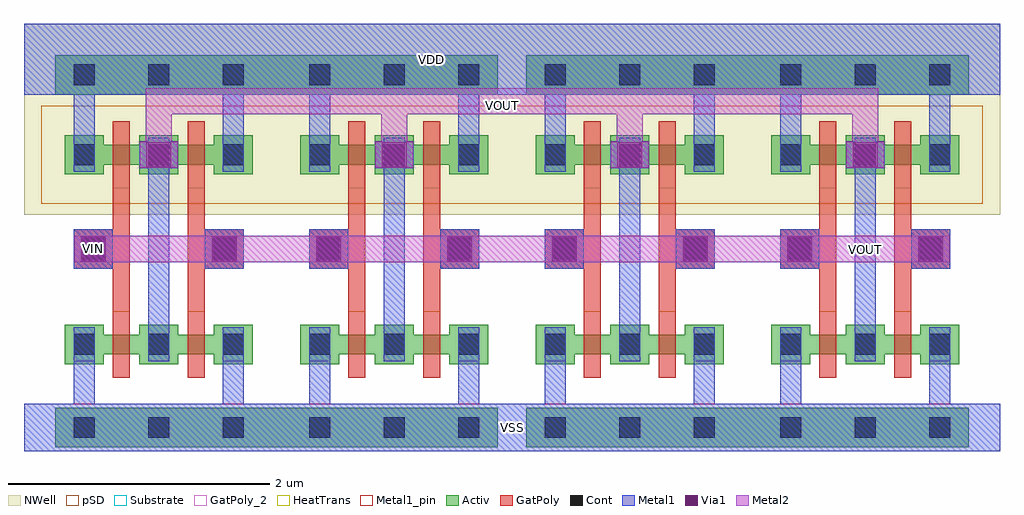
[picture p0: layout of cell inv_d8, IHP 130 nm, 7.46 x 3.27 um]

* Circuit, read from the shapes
.subckt inv_d8 VDD VIN VOUT VSS
XM1 VOUT VIN VSS VSS sg13_lv_nmos w=0.15u l=0.13u m=8
XM2 VOUT VIN VDD VDD sg13_lv_pmos w=0.15u l=0.13u m=8
.ends

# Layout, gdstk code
from math import pi, radians
import gdstk
lib = gdstk.Library(unit=1e-6, precision=5e-09)
def R(c, l, rs):  # rectangles x0, y0, x1, y1
    for r in rs: c.add(gdstk.rectangle(r[:2], r[2:], *l))
Activ = (1, 0)
GatPoly = (5, 0)
GatPoly_2 = (5, 2)
Cont = (6, 0)
Metal1 = (8, 0)
Metal1_pin = (8, 2)
Metal2 = (10, 0)
pSD = (14, 0)
Via1 = (19, 0)
NWell = (31, 0)
Substrate = (40, 0)
HeatTrans = (51, 0)

pmos_1_1_1_1_5 = lib.new_cell('pmos$1$1$1$1$5')
R(pmos_1_1_1_1_5, Activ, [(0,0,0.3,0.3), (0.57,0,0.87,0.3), (0,0.075,0.87,0.225)])
R(pmos_1_1_1_1_5, GatPoly, [(0.37,-0.105,0.5,0.405), (0.37,-0.105,0.5,0.405)])
R(pmos_1_1_1_1_5, Cont, [(0.07,0.07,0.23,0.23), (0.64,0.07,0.8,0.23)])
R(pmos_1_1_1_1_5, Metal1, [(0.07,0.02,0.23,0.28), (0.07,0.02,0.23,0.28), (0.64,0.02,0.8,0.28), (0.64,0.02,0.8,0.28)])
R(pmos_1_1_1_1_5, pSD, [(-0.18,-0.225,1.05,0.525)])
R(pmos_1_1_1_1_5, NWell, [(-0.31,-0.31,1.18,0.61)])
R(pmos_1_1_1_1_5, Substrate, [(0.57,0,0.87,0.3)])
R(pmos_1_1_1_1_5, HeatTrans, [(0.37,-0.105,0.5,0.405)])
pmos_1_1_1_1_5.add(gdstk.Label('pmos', (0.435,0.15), layer=63, texttype=0))
pmos_1_1_1_1_5.add(gdstk.Label('pmos', (0.435,0.15), layer=51, texttype=0))

nmos_1_9_1 = lib.new_cell('nmos$1$9$1')
R(nmos_1_9_1, Activ, [(0,0,0.3,0.3), (0.57,0,0.87,0.3), (0,0.075,0.87,0.225)])
R(nmos_1_9_1, GatPoly, [(0.37,-0.105,0.5,0.405)])
R(nmos_1_9_1, GatPoly_2, [(0.37,-0.105,0.5,0.405)])
R(nmos_1_9_1, Cont, [(0.07,0.07,0.23,0.23), (0.64,0.07,0.8,0.23)])
R(nmos_1_9_1, Metal1, [(0.07,0.02,0.23,0.28), (0.64,0.02,0.8,0.28)])
R(nmos_1_9_1, Metal1_pin, [(0.07,0.02,0.23,0.28), (0.64,0.02,0.8,0.28)])
R(nmos_1_9_1, HeatTrans, [(0.37,-0.105,0.5,0.405)])
nmos_1_9_1.add(gdstk.Label('nmos', (0.435,0.15), layer=63, texttype=0))
nmos_1_9_1.add(gdstk.Label('nmos', (0.435,0.15), layer=51, texttype=0))

inv_2 = lib.new_cell('inv$2')
R(inv_2, Activ, [(0.48,-0.04,1.49,0.26), (0.48,-0.04,1.49,0.26), (0.48,-0.04,1.49,0.26), (0.48,-0.04,1.49,0.26), (0.48,-0.04,1.49,0.26), (0.48,-0.04,1.49,0.26), (0.48,-0.04,1.49,0.26), (0.48,-0.04,1.49,0.26), (0.48,-0.04,1.49,0.26), (0.48,-0.04,1.49,0.26), (0.48,-0.04,1.49,0.26), (0.48,-0.04,1.49,0.26), (0.48,-0.04,1.49,0.26), (0.48,-0.04,1.49,0.26), (0.48,-0.04,1.49,0.26), (0.48,-0.04,1.49,0.26), (0.48,-0.04,1.49,0.26), (0.48,-0.04,1.49,0.26), (0.48,-0.04,1.49,0.26), (0.48,-0.04,1.49,0.26), (0.48,-0.04,1.49,0.26), (0.48,-0.04,1.49,0.26), (0.48,-0.04,1.49,0.26), (0.48,-0.04,1.49,0.26), (0.48,-0.04,1.49,0.26), (0.48,-0.04,1.49,0.26), (0.48,-0.04,1.49,0.26), (0.48,-0.04,1.49,0.26), (0.48,2.655,1.49,2.955), (0.48,2.655,1.49,2.955), (0.48,2.655,1.49,2.955), (0.48,2.655,1.49,2.955), (0.48,2.655,1.49,2.955), (0.48,2.655,1.49,2.955), (0.48,2.655,1.49,2.955), (0.48,2.655,1.49,2.955), (0.48,2.655,1.49,2.955), (0.48,2.655,1.49,2.955), (0.48,2.655,1.49,2.955), (0.48,2.655,1.49,2.955), (0.48,2.655,1.49,2.955), (0.48,2.655,1.49,2.955), (0.48,2.655,1.49,2.955), (0.48,2.655,1.49,2.955), (0.48,2.655,1.49,2.955), (0.48,2.655,1.49,2.955), (0.48,2.655,1.49,2.955), (0.48,2.655,1.49,2.955), (0.48,2.655,1.49,2.955), (0.48,2.655,1.49,2.955), (0.48,2.655,1.49,2.955), (0.48,2.655,1.49,2.955), (0.48,2.655,1.49,2.955), (0.48,2.655,1.49,2.955), (0.48,2.655,1.49,2.955), (0.48,2.655,1.49,2.955)])
R(inv_2, GatPoly, [(0.92,0.76,1.05,2.45), (0.92,0.76,1.05,2.45), (0.92,0.76,1.05,2.45), (0.92,0.76,1.05,2.45), (0.92,0.76,1.05,2.45), (0.92,0.76,1.05,2.45), (0.92,0.76,1.05,2.45), (0.92,0.76,1.05,2.45), (0.92,0.76,1.05,2.45), (0.92,0.76,1.05,2.45), (0.92,0.76,1.05,2.45), (0.92,0.76,1.05,2.45), (0.92,0.76,1.05,2.45), (0.92,0.76,1.05,2.45), (0.92,0.76,1.05,2.45), (0.92,0.76,1.05,2.45), (0.92,0.76,1.05,2.45), (0.92,0.76,1.05,2.45), (0.92,0.76,1.05,2.45), (0.92,0.76,1.05,2.45), (0.92,0.76,1.05,2.45), (0.92,0.76,1.05,2.45), (0.92,0.76,1.05,2.45), (0.92,0.76,1.05,2.45), (0.92,0.76,1.05,2.45), (0.92,0.76,1.05,2.45), (0.92,0.76,1.05,2.45), (0.92,0.76,1.05,2.45), (0.62,1.325,0.92,1.625), (0.62,1.325,0.92,1.625), (0.62,1.325,0.92,1.625), (0.62,1.325,0.92,1.625), (0.62,1.325,0.92,1.625), (0.62,1.325,0.92,1.625), (0.62,1.325,0.92,1.625), (0.62,1.325,0.92,1.625), (0.62,1.325,0.92,1.625), (0.62,1.325,0.92,1.625), (0.62,1.325,0.92,1.625), (0.62,1.325,0.92,1.625), (0.62,1.325,0.92,1.625), (0.62,1.325,0.92,1.625), (0.62,1.325,0.92,1.625), (0.62,1.325,0.92,1.625), (0.62,1.325,0.92,1.625), (0.62,1.325,0.92,1.625), (0.62,1.325,0.92,1.625), (0.62,1.325,0.92,1.625), (0.62,1.325,0.92,1.625), (0.62,1.325,0.92,1.625), (0.62,1.325,0.92,1.625), (0.62,1.325,0.92,1.625), (0.62,1.325,0.92,1.625), (0.62,1.325,0.92,1.625), (0.62,1.325,0.92,1.625), (0.62,1.325,0.92,1.625)])
R(inv_2, Cont, [(0.62,0.03,0.78,0.19), (0.62,0.03,0.78,0.19), (0.62,0.03,0.78,0.19), (0.62,0.03,0.78,0.19), (0.62,0.03,0.78,0.19), (0.62,0.03,0.78,0.19), (0.62,0.03,0.78,0.19), (0.62,0.03,0.78,0.19), (0.62,0.03,0.78,0.19), (0.62,0.03,0.78,0.19), (0.62,0.03,0.78,0.19), (0.62,0.03,0.78,0.19), (0.62,0.03,0.78,0.19), (0.62,0.03,0.78,0.19), (0.62,0.03,0.78,0.19), (0.62,0.03,0.78,0.19), (0.62,0.03,0.78,0.19), (0.62,0.03,0.78,0.19), (0.62,0.03,0.78,0.19), (0.62,0.03,0.78,0.19), (0.62,0.03,0.78,0.19), (0.62,0.03,0.78,0.19), (0.62,0.03,0.78,0.19), (0.62,0.03,0.78,0.19), (0.62,0.03,0.78,0.19), (0.62,0.03,0.78,0.19), (0.62,0.03,0.78,0.19), (0.62,0.03,0.78,0.19), (1.19,0.03,1.35,0.19), (1.19,0.03,1.35,0.19), (1.19,0.03,1.35,0.19), (1.19,0.03,1.35,0.19), (1.19,0.03,1.35,0.19), (1.19,0.03,1.35,0.19), (1.19,0.03,1.35,0.19), (1.19,0.03,1.35,0.19), (1.19,0.03,1.35,0.19), (1.19,0.03,1.35,0.19), (1.19,0.03,1.35,0.19), (1.19,0.03,1.35,0.19), (1.19,0.03,1.35,0.19), (1.19,0.03,1.35,0.19), (1.19,0.03,1.35,0.19), (1.19,0.03,1.35,0.19), (1.19,0.03,1.35,0.19), (1.19,0.03,1.35,0.19), (1.19,0.03,1.35,0.19), (1.19,0.03,1.35,0.19), (1.19,0.03,1.35,0.19), (1.19,0.03,1.35,0.19), (1.19,0.03,1.35,0.19), (1.19,0.03,1.35,0.19), (1.19,0.03,1.35,0.19), (1.19,0.03,1.35,0.19), (1.19,0.03,1.35,0.19), (1.19,0.03,1.35,0.19), (0.69,1.395,0.85,1.555), (0.69,1.395,0.85,1.555), (0.69,1.395,0.85,1.555), (0.69,1.395,0.85,1.555), (0.69,1.395,0.85,1.555), (0.69,1.395,0.85,1.555), (0.69,1.395,0.85,1.555), (0.69,1.395,0.85,1.555), (0.69,1.395,0.85,1.555), (0.69,1.395,0.85,1.555), (0.69,1.395,0.85,1.555), (0.69,1.395,0.85,1.555), (0.69,1.395,0.85,1.555), (0.69,1.395,0.85,1.555), (0.69,1.395,0.85,1.555), (0.69,1.395,0.85,1.555), (0.69,1.395,0.85,1.555), (0.69,1.395,0.85,1.555), (0.69,1.395,0.85,1.555), (0.69,1.395,0.85,1.555), (0.69,1.395,0.85,1.555), (0.69,1.395,0.85,1.555), (0.69,1.395,0.85,1.555), (0.69,1.395,0.85,1.555), (0.69,1.395,0.85,1.555), (0.69,1.395,0.85,1.555), (0.69,1.395,0.85,1.555), (0.69,1.395,0.85,1.555), (0.62,2.725,0.78,2.885), (0.62,2.725,0.78,2.885), (0.62,2.725,0.78,2.885), (0.62,2.725,0.78,2.885), (0.62,2.725,0.78,2.885), (0.62,2.725,0.78,2.885), (0.62,2.725,0.78,2.885), (0.62,2.725,0.78,2.885), (0.62,2.725,0.78,2.885), (0.62,2.725,0.78,2.885), (0.62,2.725,0.78,2.885), (0.62,2.725,0.78,2.885), (0.62,2.725,0.78,2.885), (0.62,2.725,0.78,2.885), (0.62,2.725,0.78,2.885), (0.62,2.725,0.78,2.885), (0.62,2.725,0.78,2.885), (0.62,2.725,0.78,2.885), (0.62,2.725,0.78,2.885), (0.62,2.725,0.78,2.885), (0.62,2.725,0.78,2.885), (0.62,2.725,0.78,2.885), (0.62,2.725,0.78,2.885), (0.62,2.725,0.78,2.885), (0.62,2.725,0.78,2.885), (0.62,2.725,0.78,2.885), (0.62,2.725,0.78,2.885), (0.62,2.725,0.78,2.885), (1.19,2.725,1.35,2.885), (1.19,2.725,1.35,2.885), (1.19,2.725,1.35,2.885), (1.19,2.725,1.35,2.885), (1.19,2.725,1.35,2.885), (1.19,2.725,1.35,2.885), (1.19,2.725,1.35,2.885), (1.19,2.725,1.35,2.885), (1.19,2.725,1.35,2.885), (1.19,2.725,1.35,2.885), (1.19,2.725,1.35,2.885), (1.19,2.725,1.35,2.885), (1.19,2.725,1.35,2.885), (1.19,2.725,1.35,2.885), (1.19,2.725,1.35,2.885), (1.19,2.725,1.35,2.885), (1.19,2.725,1.35,2.885), (1.19,2.725,1.35,2.885), (1.19,2.725,1.35,2.885), (1.19,2.725,1.35,2.885), (1.19,2.725,1.35,2.885), (1.19,2.725,1.35,2.885), (1.19,2.725,1.35,2.885), (1.19,2.725,1.35,2.885), (1.19,2.725,1.35,2.885), (1.19,2.725,1.35,2.885), (1.19,2.725,1.35,2.885), (1.19,2.725,1.35,2.885)])
R(inv_2, Metal1, [(0.24,-0.07,1.73,0.29), (0.24,-0.07,1.73,0.29), (0.24,-0.07,1.73,0.29), (0.24,-0.07,1.73,0.29), (0.24,-0.07,1.73,0.29), (0.24,-0.07,1.73,0.29), (0.24,-0.07,1.73,0.29), (0.24,-0.07,1.73,0.29), (0.24,-0.07,1.73,0.29), (0.24,-0.07,1.73,0.29), (0.24,-0.07,1.73,0.29), (0.24,-0.07,1.73,0.29), (0.24,-0.07,1.73,0.29), (0.24,-0.07,1.73,0.29), (0.24,-0.07,1.73,0.29), (0.24,-0.07,1.73,0.29), (0.24,-0.07,1.73,0.29), (0.24,-0.07,1.73,0.29), (0.24,-0.07,1.73,0.29), (0.24,-0.07,1.73,0.29), (0.24,-0.07,1.73,0.29), (0.24,-0.07,1.73,0.29), (0.24,-0.07,1.73,0.29), (0.24,-0.07,1.73,0.29), (0.24,-0.07,1.73,0.29), (0.24,-0.07,1.73,0.29), (0.24,-0.07,1.73,0.29), (0.24,-0.07,1.73,0.29), (0.62,-0.04,0.78,0.875), (0.62,-0.04,0.78,0.875), (0.62,-0.04,0.78,0.875), (0.62,-0.04,0.78,0.875), (0.62,-0.04,0.78,0.875), (0.62,-0.04,0.78,0.875), (0.62,-0.04,0.78,0.875), (0.62,-0.04,0.78,0.875), (0.62,-0.04,0.78,0.875), (0.62,-0.04,0.78,0.875), (0.62,-0.04,0.78,0.875), (0.62,-0.04,0.78,0.875), (0.62,-0.04,0.78,0.875), (0.62,-0.04,0.78,0.875), (0.62,-0.04,0.78,0.875), (0.62,-0.04,0.78,0.875), (0.62,-0.04,0.78,0.875), (0.62,-0.04,0.78,0.875), (0.62,-0.04,0.78,0.875), (0.62,-0.04,0.78,0.875), (0.62,-0.04,0.78,0.875), (0.62,-0.04,0.78,0.875), (0.62,-0.04,0.78,0.875), (0.62,-0.04,0.78,0.875), (0.62,-0.04,0.78,0.875), (0.62,-0.04,0.78,0.875), (0.62,-0.04,0.78,0.875), (0.62,-0.04,0.78,0.875), (1.19,0.615,1.35,2.325), (1.19,0.615,1.35,2.325), (1.19,0.615,1.35,2.325), (1.19,0.615,1.35,2.325), (1.19,0.615,1.35,2.325), (1.19,0.615,1.35,2.325), (1.19,0.615,1.35,2.325), (1.19,0.615,1.35,2.325), (1.19,0.615,1.35,2.325), (1.19,0.615,1.35,2.325), (1.19,0.615,1.35,2.325), (1.19,0.615,1.35,2.325), (1.19,0.615,1.35,2.325), (1.19,0.615,1.35,2.325), (1.19,0.615,1.35,2.325), (1.19,0.615,1.35,2.325), (1.19,0.615,1.35,2.325), (1.19,0.615,1.35,2.325), (1.19,0.615,1.35,2.325), (1.19,0.615,1.35,2.325), (1.19,0.615,1.35,2.325), (1.19,0.615,1.35,2.325), (1.19,0.615,1.35,2.325), (1.19,0.615,1.35,2.325), (1.19,0.615,1.35,2.325), (1.19,0.615,1.35,2.325), (1.19,0.615,1.35,2.325), (1.19,0.615,1.35,2.325), (0.62,1.325,0.92,1.625), (0.62,1.325,0.92,1.625), (0.62,1.325,0.92,1.625), (0.62,1.325,0.92,1.625), (0.62,1.325,0.92,1.625), (0.62,1.325,0.92,1.625), (0.62,1.325,0.92,1.625), (0.62,1.325,0.92,1.625), (0.62,1.325,0.92,1.625), (0.62,1.325,0.92,1.625), (0.62,1.325,0.92,1.625), (0.62,1.325,0.92,1.625), (0.62,1.325,0.92,1.625), (0.62,1.325,0.92,1.625), (0.62,1.325,0.92,1.625), (0.62,1.325,0.92,1.625), (0.62,1.325,0.92,1.625), (0.62,1.325,0.92,1.625), (0.62,1.325,0.92,1.625), (0.62,1.325,0.92,1.625), (0.62,1.325,0.92,1.625), (0.62,1.325,0.92,1.625), (0.62,1.325,0.92,1.625), (0.62,1.325,0.92,1.625), (0.62,1.325,0.92,1.625), (0.62,1.325,0.92,1.625), (0.62,1.325,0.92,1.625), (0.62,1.325,0.92,1.625), (0.62,2.065,0.78,2.955), (0.62,2.065,0.78,2.955), (0.62,2.065,0.78,2.955), (0.62,2.065,0.78,2.955), (0.62,2.065,0.78,2.955), (0.62,2.065,0.78,2.955), (0.62,2.065,0.78,2.955), (0.62,2.065,0.78,2.955), (0.62,2.065,0.78,2.955), (0.62,2.065,0.78,2.955), (0.62,2.065,0.78,2.955), (0.62,2.065,0.78,2.955), (0.62,2.065,0.78,2.955), (0.62,2.065,0.78,2.955), (0.62,2.065,0.78,2.955), (0.62,2.065,0.78,2.955), (0.62,2.065,0.78,2.955), (0.62,2.065,0.78,2.955), (0.62,2.065,0.78,2.955), (0.62,2.065,0.78,2.955), (0.62,2.065,0.78,2.955), (0.62,2.065,0.78,2.955), (0.62,2.065,0.78,2.955), (0.62,2.065,0.78,2.955), (0.62,2.065,0.78,2.955), (0.62,2.065,0.78,2.955), (0.62,2.065,0.78,2.955), (0.62,2.065,0.78,2.955), (0.24,2.655,1.73,3.195), (0.24,2.655,1.73,3.195), (0.24,2.655,1.73,3.195), (0.24,2.655,1.73,3.195), (0.24,2.655,1.73,3.195), (0.24,2.655,1.73,3.195), (0.24,2.655,1.73,3.195), (0.24,2.655,1.73,3.195), (0.24,2.655,1.73,3.195), (0.24,2.655,1.73,3.195), (0.24,2.655,1.73,3.195), (0.24,2.655,1.73,3.195), (0.24,2.655,1.73,3.195), (0.24,2.655,1.73,3.195), (0.24,2.655,1.73,3.195), (0.24,2.655,1.73,3.195), (0.24,2.655,1.73,3.195), (0.24,2.655,1.73,3.195), (0.24,2.655,1.73,3.195), (0.24,2.655,1.73,3.195), (0.24,2.655,1.73,3.195), (0.24,2.655,1.73,3.195), (0.24,2.655,1.73,3.195), (0.24,2.655,1.73,3.195), (0.24,2.655,1.73,3.195), (0.24,2.655,1.73,3.195), (0.24,2.655,1.73,3.195), (0.24,2.655,1.73,3.195)])
R(inv_2, Metal1_pin, [(0.24,-0.07,1.73,0.29), (0.24,-0.07,1.73,0.29), (0.24,-0.07,1.73,0.29), (0.24,-0.07,1.73,0.29), (0.24,-0.07,1.73,0.29), (0.24,-0.07,1.73,0.29), (0.24,-0.07,1.73,0.29), (0.24,-0.07,1.73,0.29), (0.24,-0.07,1.73,0.29), (0.24,-0.07,1.73,0.29), (0.24,-0.07,1.73,0.29), (0.24,-0.07,1.73,0.29), (0.24,-0.07,1.73,0.29), (0.24,-0.07,1.73,0.29), (0.24,-0.07,1.73,0.29), (0.24,-0.07,1.73,0.29), (0.24,-0.07,1.73,0.29), (0.24,-0.07,1.73,0.29), (0.24,-0.07,1.73,0.29), (0.24,-0.07,1.73,0.29), (0.24,-0.07,1.73,0.29), (0.24,-0.07,1.73,0.29), (0.24,-0.07,1.73,0.29), (0.24,-0.07,1.73,0.29), (0.24,-0.07,1.73,0.29), (0.24,-0.07,1.73,0.29), (0.24,-0.07,1.73,0.29), (0.24,-0.07,1.73,0.29), (1.19,0.615,1.35,2.325), (1.19,0.615,1.35,2.325), (1.19,0.615,1.35,2.325), (1.19,0.615,1.35,2.325), (1.19,0.615,1.35,2.325), (1.19,0.615,1.35,2.325), (1.19,0.615,1.35,2.325), (1.19,0.615,1.35,2.325), (1.19,0.615,1.35,2.325), (1.19,0.615,1.35,2.325), (1.19,0.615,1.35,2.325), (1.19,0.615,1.35,2.325), (1.19,0.615,1.35,2.325), (1.19,0.615,1.35,2.325), (1.19,0.615,1.35,2.325), (1.19,0.615,1.35,2.325), (1.19,0.615,1.35,2.325), (1.19,0.615,1.35,2.325), (1.19,0.615,1.35,2.325), (1.19,0.615,1.35,2.325), (1.19,0.615,1.35,2.325), (1.19,0.615,1.35,2.325), (1.19,0.615,1.35,2.325), (1.19,0.615,1.35,2.325), (1.19,0.615,1.35,2.325), (1.19,0.615,1.35,2.325), (1.19,0.615,1.35,2.325), (1.19,0.615,1.35,2.325), (0.62,1.325,0.92,1.625), (0.62,1.325,0.92,1.625), (0.62,1.325,0.92,1.625), (0.62,1.325,0.92,1.625), (0.62,1.325,0.92,1.625), (0.62,1.325,0.92,1.625), (0.62,1.325,0.92,1.625), (0.62,1.325,0.92,1.625), (0.62,1.325,0.92,1.625), (0.62,1.325,0.92,1.625), (0.62,1.325,0.92,1.625), (0.62,1.325,0.92,1.625), (0.62,1.325,0.92,1.625), (0.62,1.325,0.92,1.625), (0.62,1.325,0.92,1.625), (0.62,1.325,0.92,1.625), (0.62,1.325,0.92,1.625), (0.62,1.325,0.92,1.625), (0.62,1.325,0.92,1.625), (0.62,1.325,0.92,1.625), (0.62,1.325,0.92,1.625), (0.62,1.325,0.92,1.625), (0.62,1.325,0.92,1.625), (0.62,1.325,0.92,1.625), (0.62,1.325,0.92,1.625), (0.62,1.325,0.92,1.625), (0.62,1.325,0.92,1.625), (0.62,1.325,0.92,1.625), (0.24,2.655,1.73,3.195), (0.24,2.655,1.73,3.195), (0.24,2.655,1.73,3.195), (0.24,2.655,1.73,3.195), (0.24,2.655,1.73,3.195), (0.24,2.655,1.73,3.195), (0.24,2.655,1.73,3.195), (0.24,2.655,1.73,3.195), (0.24,2.655,1.73,3.195), (0.24,2.655,1.73,3.195), (0.24,2.655,1.73,3.195), (0.24,2.655,1.73,3.195), (0.24,2.655,1.73,3.195), (0.24,2.655,1.73,3.195), (0.24,2.655,1.73,3.195), (0.24,2.655,1.73,3.195), (0.24,2.655,1.73,3.195), (0.24,2.655,1.73,3.195), (0.24,2.655,1.73,3.195), (0.24,2.655,1.73,3.195), (0.24,2.655,1.73,3.195), (0.24,2.655,1.73,3.195), (0.24,2.655,1.73,3.195), (0.24,2.655,1.73,3.195), (0.24,2.655,1.73,3.195), (0.24,2.655,1.73,3.195), (0.24,2.655,1.73,3.195), (0.24,2.655,1.73,3.195)])
R(inv_2, pSD, [(0.24,-0.07,1.73,0.29), (0.24,-0.07,1.73,0.29), (0.24,-0.07,1.73,0.29), (0.24,-0.07,1.73,0.29), (0.24,-0.07,1.73,0.29), (0.24,-0.07,1.73,0.29), (0.24,-0.07,1.73,0.29), (0.24,-0.07,1.73,0.29), (0.24,-0.07,1.73,0.29), (0.24,-0.07,1.73,0.29), (0.24,-0.07,1.73,0.29), (0.24,-0.07,1.73,0.29), (0.24,-0.07,1.73,0.29), (0.24,-0.07,1.73,0.29), (0.24,-0.07,1.73,0.29), (0.24,-0.07,1.73,0.29), (0.24,-0.07,1.73,0.29), (0.24,-0.07,1.73,0.29), (0.24,-0.07,1.73,0.29), (0.24,-0.07,1.73,0.29), (0.24,-0.07,1.73,0.29), (0.24,-0.07,1.73,0.29), (0.24,-0.07,1.73,0.29), (0.24,-0.07,1.73,0.29), (0.24,-0.07,1.73,0.29), (0.24,-0.07,1.73,0.29), (0.24,-0.07,1.73,0.29), (0.24,-0.07,1.73,0.29)])
R(inv_2, NWell, [(0.24,2.655,1.73,3.195), (0.24,2.655,1.73,3.195), (0.24,2.655,1.73,3.195), (0.24,2.655,1.73,3.195), (0.24,2.655,1.73,3.195), (0.24,2.655,1.73,3.195), (0.24,2.655,1.73,3.195), (0.24,2.655,1.73,3.195), (0.24,2.655,1.73,3.195), (0.24,2.655,1.73,3.195), (0.24,2.655,1.73,3.195), (0.24,2.655,1.73,3.195), (0.24,2.655,1.73,3.195), (0.24,2.655,1.73,3.195), (0.24,2.655,1.73,3.195), (0.24,2.655,1.73,3.195), (0.24,2.655,1.73,3.195), (0.24,2.655,1.73,3.195), (0.24,2.655,1.73,3.195), (0.24,2.655,1.73,3.195), (0.24,2.655,1.73,3.195), (0.24,2.655,1.73,3.195), (0.24,2.655,1.73,3.195), (0.24,2.655,1.73,3.195), (0.24,2.655,1.73,3.195), (0.24,2.655,1.73,3.195), (0.24,2.655,1.73,3.195), (0.24,2.655,1.73,3.195)])
inv_2.add(gdstk.Reference(pmos_1_1_1_1_5, (0.55,2.045)))
inv_2.add(gdstk.Reference(nmos_1_9_1, (0.55,0.595)))
inv_2.add(gdstk.Label('VDD', (0.675,2.805), layer=8, texttype=25))
inv_2.add(gdstk.Label('VIN', (0.73,1.475), layer=8, texttype=25))
inv_2.add(gdstk.Label('VOUT', (1.2,1.665), layer=8, texttype=25))
inv_2.add(gdstk.Label('VDD', (0.675,2.805), layer=8, texttype=25))
inv_2.add(gdstk.Label('VIN', (0.73,1.475), layer=8, texttype=25))
inv_2.add(gdstk.Label('VOUT', (1.2,1.665), layer=8, texttype=25))
inv_2.add(gdstk.Label('VDD', (0.675,2.805), layer=8, texttype=25))
inv_2.add(gdstk.Label('VIN', (0.73,1.475), layer=8, texttype=25))
inv_2.add(gdstk.Label('VOUT', (1.2,1.665), layer=8, texttype=25))
inv_2.add(gdstk.Label('VDD', (0.675,2.805), layer=8, texttype=25))
inv_2.add(gdstk.Label('VIN', (0.73,1.475), layer=8, texttype=25))
inv_2.add(gdstk.Label('VOUT', (1.2,1.665), layer=8, texttype=25))
inv_2.add(gdstk.Label('VDD', (0.675,2.805), layer=8, texttype=25))
inv_2.add(gdstk.Label('VIN', (0.73,1.475), layer=8, texttype=25))
inv_2.add(gdstk.Label('VOUT', (1.2,1.665), layer=8, texttype=25))
inv_2.add(gdstk.Label('VDD', (0.675,2.805), layer=8, texttype=25))
inv_2.add(gdstk.Label('VIN', (0.73,1.475), layer=8, texttype=25))
inv_2.add(gdstk.Label('VOUT', (1.2,1.665), layer=8, texttype=25))
inv_2.add(gdstk.Label('VDD', (0.675,2.805), layer=8, texttype=25))
inv_2.add(gdstk.Label('VIN', (0.73,1.475), layer=8, texttype=25))
inv_2.add(gdstk.Label('VOUT', (1.2,1.665), layer=8, texttype=25))
inv_2.add(gdstk.Label('VDD', (0.675,2.805), layer=8, texttype=25))
inv_2.add(gdstk.Label('VIN', (0.73,1.475), layer=8, texttype=25))
inv_2.add(gdstk.Label('VOUT', (1.2,1.665), layer=8, texttype=25))
inv_2.add(gdstk.Label('VDD', (0.675,2.805), layer=8, texttype=25))
inv_2.add(gdstk.Label('VIN', (0.73,1.475), layer=8, texttype=25))
inv_2.add(gdstk.Label('VOUT', (1.2,1.665), layer=8, texttype=25))
inv_2.add(gdstk.Label('VDD', (0.675,2.805), layer=8, texttype=25))
inv_2.add(gdstk.Label('VIN', (0.73,1.475), layer=8, texttype=25))
inv_2.add(gdstk.Label('VOUT', (1.2,1.665), layer=8, texttype=25))
inv_2.add(gdstk.Label('VDD', (0.675,2.805), layer=8, texttype=25))
inv_2.add(gdstk.Label('VIN', (0.73,1.475), layer=8, texttype=25))
inv_2.add(gdstk.Label('VOUT', (1.2,1.665), layer=8, texttype=25))
inv_2.add(gdstk.Label('VDD', (0.675,2.805), layer=8, texttype=25))
inv_2.add(gdstk.Label('VIN', (0.73,1.475), layer=8, texttype=25))
inv_2.add(gdstk.Label('VOUT', (1.2,1.665), layer=8, texttype=25))
inv_2.add(gdstk.Label('VDD', (0.675,2.805), layer=8, texttype=25))
inv_2.add(gdstk.Label('VIN', (0.73,1.475), layer=8, texttype=25))
inv_2.add(gdstk.Label('VOUT', (1.2,1.665), layer=8, texttype=25))
inv_2.add(gdstk.Label('VDD', (0.675,2.805), layer=8, texttype=25))
inv_2.add(gdstk.Label('VIN', (0.73,1.475), layer=8, texttype=25))
inv_2.add(gdstk.Label('VOUT', (1.2,1.665), layer=8, texttype=25))
inv_2.add(gdstk.Label('VDD', (0.675,2.805), layer=8, texttype=25))
inv_2.add(gdstk.Label('VIN', (0.73,1.475), layer=8, texttype=25))
inv_2.add(gdstk.Label('VOUT', (1.2,1.665), layer=8, texttype=25))
inv_2.add(gdstk.Label('VDD', (0.675,2.805), layer=8, texttype=25))
inv_2.add(gdstk.Label('VIN', (0.73,1.475), layer=8, texttype=25))
inv_2.add(gdstk.Label('VOUT', (1.2,1.665), layer=8, texttype=25))
inv_2.add(gdstk.Label('VDD', (0.675,2.805), layer=8, texttype=25))
inv_2.add(gdstk.Label('VIN', (0.73,1.475), layer=8, texttype=25))
inv_2.add(gdstk.Label('VOUT', (1.2,1.665), layer=8, texttype=25))
inv_2.add(gdstk.Label('VDD', (0.675,2.805), layer=8, texttype=25))
inv_2.add(gdstk.Label('VIN', (0.73,1.475), layer=8, texttype=25))
inv_2.add(gdstk.Label('VOUT', (1.2,1.665), layer=8, texttype=25))
inv_2.add(gdstk.Label('VDD', (0.675,2.805), layer=8, texttype=25))
inv_2.add(gdstk.Label('VIN', (0.73,1.475), layer=8, texttype=25))
inv_2.add(gdstk.Label('VOUT', (1.2,1.665), layer=8, texttype=25))
inv_2.add(gdstk.Label('VDD', (0.675,2.805), layer=8, texttype=25))
inv_2.add(gdstk.Label('VIN', (0.73,1.475), layer=8, texttype=25))
inv_2.add(gdstk.Label('VOUT', (1.2,1.665), layer=8, texttype=25))
inv_2.add(gdstk.Label('VDD', (0.675,2.805), layer=8, texttype=25))
inv_2.add(gdstk.Label('VIN', (0.73,1.475), layer=8, texttype=25))
inv_2.add(gdstk.Label('VOUT', (1.2,1.665), layer=8, texttype=25))
inv_2.add(gdstk.Label('VDD', (0.675,2.805), layer=8, texttype=25))
inv_2.add(gdstk.Label('VIN', (0.73,1.475), layer=8, texttype=25))
inv_2.add(gdstk.Label('VOUT', (1.2,1.665), layer=8, texttype=25))
inv_2.add(gdstk.Label('VDD', (0.675,2.805), layer=8, texttype=25))
inv_2.add(gdstk.Label('VIN', (0.73,1.475), layer=8, texttype=25))
inv_2.add(gdstk.Label('VOUT', (1.2,1.665), layer=8, texttype=25))
inv_2.add(gdstk.Label('VDD', (0.675,2.805), layer=8, texttype=25))
inv_2.add(gdstk.Label('VIN', (0.73,1.475), layer=8, texttype=25))
inv_2.add(gdstk.Label('VOUT', (1.2,1.665), layer=8, texttype=25))
inv_2.add(gdstk.Label('VDD', (0.675,2.805), layer=8, texttype=25))
inv_2.add(gdstk.Label('VIN', (0.73,1.475), layer=8, texttype=25))
inv_2.add(gdstk.Label('VOUT', (1.2,1.665), layer=8, texttype=25))
inv_2.add(gdstk.Label('VDD', (0.675,2.805), layer=8, texttype=25))
inv_2.add(gdstk.Label('VIN', (0.73,1.475), layer=8, texttype=25))
inv_2.add(gdstk.Label('VOUT', (1.2,1.665), layer=8, texttype=25))
inv_2.add(gdstk.Label('VDD', (0.675,2.805), layer=8, texttype=25))
inv_2.add(gdstk.Label('VIN', (0.73,1.475), layer=8, texttype=25))
inv_2.add(gdstk.Label('VOUT', (1.2,1.665), layer=8, texttype=25))
inv_2.add(gdstk.Label('VDD', (0.675,2.805), layer=8, texttype=25))
inv_2.add(gdstk.Label('VIN', (0.73,1.475), layer=8, texttype=25))
inv_2.add(gdstk.Label('VOUT', (1.2,1.665), layer=8, texttype=25))
inv_2.add(gdstk.Label('VSS', (0.64,0.09), layer=8, texttype=25))
inv_2.add(gdstk.Label('VSS', (0.64,0.09), layer=8, texttype=25))
inv_2.add(gdstk.Label('VSS', (0.64,0.09), layer=8, texttype=25))
inv_2.add(gdstk.Label('VSS', (0.64,0.09), layer=8, texttype=25))
inv_2.add(gdstk.Label('VSS', (0.64,0.09), layer=8, texttype=25))
inv_2.add(gdstk.Label('VSS', (0.64,0.09), layer=8, texttype=25))
inv_2.add(gdstk.Label('VSS', (0.64,0.09), layer=8, texttype=25))
inv_2.add(gdstk.Label('VSS', (0.64,0.09), layer=8, texttype=25))
inv_2.add(gdstk.Label('VSS', (0.64,0.09), layer=8, texttype=25))
inv_2.add(gdstk.Label('VSS', (0.64,0.09), layer=8, texttype=25))
inv_2.add(gdstk.Label('VSS', (0.64,0.09), layer=8, texttype=25))
inv_2.add(gdstk.Label('VSS', (0.64,0.09), layer=8, texttype=25))
inv_2.add(gdstk.Label('VSS', (0.64,0.09), layer=8, texttype=25))
inv_2.add(gdstk.Label('VSS', (0.64,0.09), layer=8, texttype=25))
inv_2.add(gdstk.Label('VSS', (0.64,0.09), layer=8, texttype=25))
inv_2.add(gdstk.Label('VSS', (0.64,0.09), layer=8, texttype=25))
inv_2.add(gdstk.Label('VSS', (0.64,0.09), layer=8, texttype=25))
inv_2.add(gdstk.Label('VSS', (0.64,0.09), layer=8, texttype=25))
inv_2.add(gdstk.Label('VSS', (0.64,0.09), layer=8, texttype=25))
inv_2.add(gdstk.Label('VSS', (0.64,0.09), layer=8, texttype=25))
inv_2.add(gdstk.Label('VSS', (0.64,0.09), layer=8, texttype=25))
inv_2.add(gdstk.Label('VSS', (0.64,0.09), layer=8, texttype=25))
inv_2.add(gdstk.Label('VSS', (0.64,0.09), layer=8, texttype=25))
inv_2.add(gdstk.Label('VSS', (0.64,0.09), layer=8, texttype=25))
inv_2.add(gdstk.Label('VSS', (0.64,0.09), layer=8, texttype=25))
inv_2.add(gdstk.Label('VSS', (0.64,0.09), layer=8, texttype=25))
inv_2.add(gdstk.Label('VSS', (0.64,0.09), layer=8, texttype=25))
inv_2.add(gdstk.Label('VSS', (0.64,0.09), layer=8, texttype=25))

inv_d2 = lib.new_cell('inv_d2')
R(inv_d2, Metal1, [(0.625,1.705,0.915,1.915), (0.625,1.705,0.915,1.915), (0.625,1.705,0.915,1.915), (0.625,1.705,0.915,1.915), (0.625,1.705,0.915,1.915), (0.625,1.705,0.915,1.915), (1.625,1.705,1.915,1.915), (1.625,1.705,1.915,1.915), (1.625,1.705,1.915,1.915), (1.625,1.705,1.915,1.915), (1.625,1.705,1.915,1.915), (1.625,1.705,1.915,1.915)])
R(inv_d2, Metal1_pin, [(1.19,0.95,1.35,2.66), (1.19,0.95,1.35,2.66), (1.19,0.95,1.35,2.66), (1.19,0.95,1.35,2.66), (1.19,0.95,1.35,2.66), (1.19,0.95,1.35,2.66), (0.24,2.99,2.3,3.53), (0.24,2.99,2.3,3.53), (0.24,2.99,2.3,3.53), (0.24,2.99,2.3,3.53), (0.24,2.99,2.3,3.53), (0.24,2.99,2.3,3.53)])
R(inv_d2, Metal2, [(0.625,1.71,0.915,1.91), (0.625,1.71,0.915,1.91), (0.625,1.71,0.915,1.91), (0.625,1.71,0.915,1.91), (0.625,1.71,0.915,1.91), (0.625,1.71,0.915,1.91), (0.625,1.71,1.915,1.91), (0.625,1.71,1.915,1.91), (0.625,1.71,1.915,1.91), (0.625,1.71,1.915,1.91), (0.625,1.71,1.915,1.91), (0.625,1.71,1.915,1.91), (1.625,1.71,1.915,1.91), (1.625,1.71,1.915,1.91), (1.625,1.71,1.915,1.91), (1.625,1.71,1.915,1.91), (1.625,1.71,1.915,1.91), (1.625,1.71,1.915,1.91)])
R(inv_d2, Via1, [(0.675,1.715,0.865,1.905), (0.675,1.715,0.865,1.905), (0.675,1.715,0.865,1.905), (0.675,1.715,0.865,1.905), (0.675,1.715,0.865,1.905), (0.675,1.715,0.865,1.905), (1.675,1.715,1.865,1.905), (1.675,1.715,1.865,1.905), (1.675,1.715,1.865,1.905), (1.675,1.715,1.865,1.905), (1.675,1.715,1.865,1.905), (1.675,1.715,1.865,1.905)])
inv_d2.add(gdstk.Reference(inv_2, (0,0.335)))
inv_d2.add(gdstk.Reference(inv_2, (2.54,0.335), rotation=pi, x_reflection=True))
inv_d2.add(gdstk.Label('VDD', (1.27,3.14), layer=8, texttype=25))
inv_d2.add(gdstk.Label('VOUT', (1.26,1.49), layer=8, texttype=25))
inv_d2.add(gdstk.Label('VIN', (0.74,1.8), layer=8, texttype=25))
inv_d2.add(gdstk.Label('VSS', (1.27,0.445), layer=8, texttype=25))
inv_d2.add(gdstk.Label('VDD', (1.27,3.14), layer=8, texttype=25))
inv_d2.add(gdstk.Label('VOUT', (1.26,1.49), layer=8, texttype=25))
inv_d2.add(gdstk.Label('VIN', (0.74,1.8), layer=8, texttype=25))
inv_d2.add(gdstk.Label('VSS', (1.27,0.445), layer=8, texttype=25))
inv_d2.add(gdstk.Label('VDD', (1.27,3.14), layer=8, texttype=25))
inv_d2.add(gdstk.Label('VOUT', (1.26,1.49), layer=8, texttype=25))
inv_d2.add(gdstk.Label('VIN', (0.74,1.8), layer=8, texttype=25))
inv_d2.add(gdstk.Label('VSS', (1.27,0.445), layer=8, texttype=25))
inv_d2.add(gdstk.Label('VDD', (1.27,3.14), layer=8, texttype=25))
inv_d2.add(gdstk.Label('VOUT', (1.26,1.49), layer=8, texttype=25))
inv_d2.add(gdstk.Label('VIN', (0.74,1.8), layer=8, texttype=25))
inv_d2.add(gdstk.Label('VSS', (1.27,0.445), layer=8, texttype=25))
inv_d2.add(gdstk.Label('VDD', (1.27,3.14), layer=8, texttype=25))
inv_d2.add(gdstk.Label('VOUT', (1.26,1.49), layer=8, texttype=25))
inv_d2.add(gdstk.Label('VIN', (0.74,1.8), layer=8, texttype=25))
inv_d2.add(gdstk.Label('VSS', (1.27,0.445), layer=8, texttype=25))
inv_d2.add(gdstk.Label('VDD', (1.27,3.14), layer=8, texttype=25))
inv_d2.add(gdstk.Label('VOUT', (1.26,1.49), layer=8, texttype=25))
inv_d2.add(gdstk.Label('VIN', (0.74,1.8), layer=8, texttype=25))
inv_d2.add(gdstk.Label('VSS', (1.27,0.445), layer=8, texttype=25))

inv_d4 = lib.new_cell('inv_d4')
R(inv_d4, Activ, [(7.06,0.295,7.28,0.595), (7.06,0.295,7.28,0.595), (7.06,0.295,7.28,0.595), (7.06,0.295,7.28,0.595), (7.06,2.99,7.28,3.29), (7.06,2.99,7.28,3.29), (7.06,2.99,7.28,3.29), (7.06,2.99,7.28,3.29)])
R(inv_d4, Metal1, [(6.125,2.425,6.415,2.635), (6.125,2.425,6.415,2.635), (6.125,2.425,6.415,2.635), (6.125,2.425,6.415,2.635), (7.925,2.425,8.215,2.635), (7.925,2.425,8.215,2.635), (7.925,2.425,8.215,2.635), (7.925,2.425,8.215,2.635)])
R(inv_d4, Metal1_pin, [(5.24,0.265,9.1,0.625), (5.24,0.265,9.1,0.625), (5.24,0.265,9.1,0.625), (5.24,0.265,9.1,0.625), (6.19,0.95,6.35,2.66), (6.19,0.95,6.35,2.66), (6.19,0.95,6.35,2.66), (6.19,0.95,6.35,2.66), (7.99,0.95,8.15,2.66), (7.99,0.95,8.15,2.66), (7.99,0.95,8.15,2.66), (7.99,0.95,8.15,2.66), (5.24,2.99,9.1,3.53), (5.24,2.99,9.1,3.53), (5.24,2.99,9.1,3.53), (5.24,2.99,9.1,3.53)])
R(inv_d4, Metal2, [(6.67,1.71,7.67,1.91), (6.67,1.71,7.67,1.91), (6.67,1.71,7.67,1.91), (6.67,1.71,7.67,1.91), (6.125,2.43,6.415,2.63), (6.125,2.43,6.415,2.63), (6.125,2.43,6.415,2.63), (6.125,2.43,6.415,2.63), (7.925,2.43,8.215,2.63), (7.925,2.43,8.215,2.63), (7.925,2.43,8.215,2.63), (7.925,2.43,8.215,2.63), (6.17,2.435,6.37,3.04), (6.17,2.435,6.37,3.04), (6.17,2.435,6.37,3.04), (6.17,2.435,6.37,3.04), (7.97,2.435,8.17,3.04), (7.97,2.435,8.17,3.04), (7.97,2.435,8.17,3.04), (7.97,2.435,8.17,3.04), (6.17,2.84,8.17,3.04), (6.17,2.84,8.17,3.04), (6.17,2.84,8.17,3.04), (6.17,2.84,8.17,3.04)])
R(inv_d4, Via1, [(6.175,2.435,6.365,2.625), (6.175,2.435,6.365,2.625), (6.175,2.435,6.365,2.625), (6.175,2.435,6.365,2.625), (7.975,2.435,8.165,2.625), (7.975,2.435,8.165,2.625), (7.975,2.435,8.165,2.625), (7.975,2.435,8.165,2.625)])
inv_d4.add(gdstk.Reference(inv_d2, (5,0)))
inv_d4.add(gdstk.Reference(inv_d2, (6.8,0)))
inv_d4.add(gdstk.Label('VOUT', (6.245,1.985), layer=8, texttype=25))
inv_d4.add(gdstk.Label('VDD', (6.235,3.12), layer=8, texttype=25))
inv_d4.add(gdstk.Label('VSS', (6.215,0.425), layer=8, texttype=25))
inv_d4.add(gdstk.Label('VIN', (5.735,1.765), layer=8, texttype=25))
inv_d4.add(gdstk.Label('VOUT', (6.245,1.985), layer=8, texttype=25))
inv_d4.add(gdstk.Label('VDD', (6.235,3.12), layer=8, texttype=25))
inv_d4.add(gdstk.Label('VSS', (6.215,0.425), layer=8, texttype=25))
inv_d4.add(gdstk.Label('VIN', (5.735,1.765), layer=8, texttype=25))
inv_d4.add(gdstk.Label('VOUT', (6.245,1.985), layer=8, texttype=25))
inv_d4.add(gdstk.Label('VDD', (6.235,3.12), layer=8, texttype=25))
inv_d4.add(gdstk.Label('VSS', (6.215,0.425), layer=8, texttype=25))
inv_d4.add(gdstk.Label('VIN', (5.735,1.765), layer=8, texttype=25))
inv_d4.add(gdstk.Label('VOUT', (6.245,1.985), layer=8, texttype=25))
inv_d4.add(gdstk.Label('VDD', (6.235,3.12), layer=8, texttype=25))
inv_d4.add(gdstk.Label('VSS', (6.215,0.425), layer=8, texttype=25))
inv_d4.add(gdstk.Label('VIN', (5.735,1.765), layer=8, texttype=25))

inv_d8 = lib.new_cell('inv_d8')
R(inv_d8, Metal1_pin, [(5.24,0.265,12.7,0.625), (5.24,0.265,12.7,0.625), (5.24,2.99,12.7,3.53), (5.24,2.99,12.7,3.53)])
R(inv_d8, Metal2, [(8.475,1.71,9.515,1.91), (8.475,1.71,9.515,1.91), (7.97,2.84,9.97,3.04), (7.97,2.84,9.97,3.04)])
inv_d8.add(gdstk.Reference(inv_d4, (0,0)))
inv_d8.add(gdstk.Reference(inv_d4, (3.6,0)))
inv_d8.add(gdstk.Label('VDD', (8.355,3.26), layer=8, texttype=25))
inv_d8.add(gdstk.Label('VSS', (8.97,0.445), layer=8, texttype=25))
inv_d8.add(gdstk.Label('VIN', (5.77,1.81), layer=8, texttype=25))
inv_d8.add(gdstk.Label('VOUT', (11.67,1.805), layer=8, texttype=25))
inv_d8.add(gdstk.Label('VDD', (8.355,3.26), layer=8, texttype=25))
inv_d8.add(gdstk.Label('VSS', (8.97,0.445), layer=8, texttype=25))
inv_d8.add(gdstk.Label('VIN', (5.77,1.81), layer=8, texttype=25))
inv_d8.add(gdstk.Label('VOUT', (11.67,1.805), layer=8, texttype=25))
inv_d8.add(gdstk.Label('VOUT', (8.9,2.905), layer=10, texttype=25))
inv_d8.add(gdstk.Label('VOUT', (8.9,2.905), layer=10, texttype=25))

lib.write_gds('inv_d8.gds')
